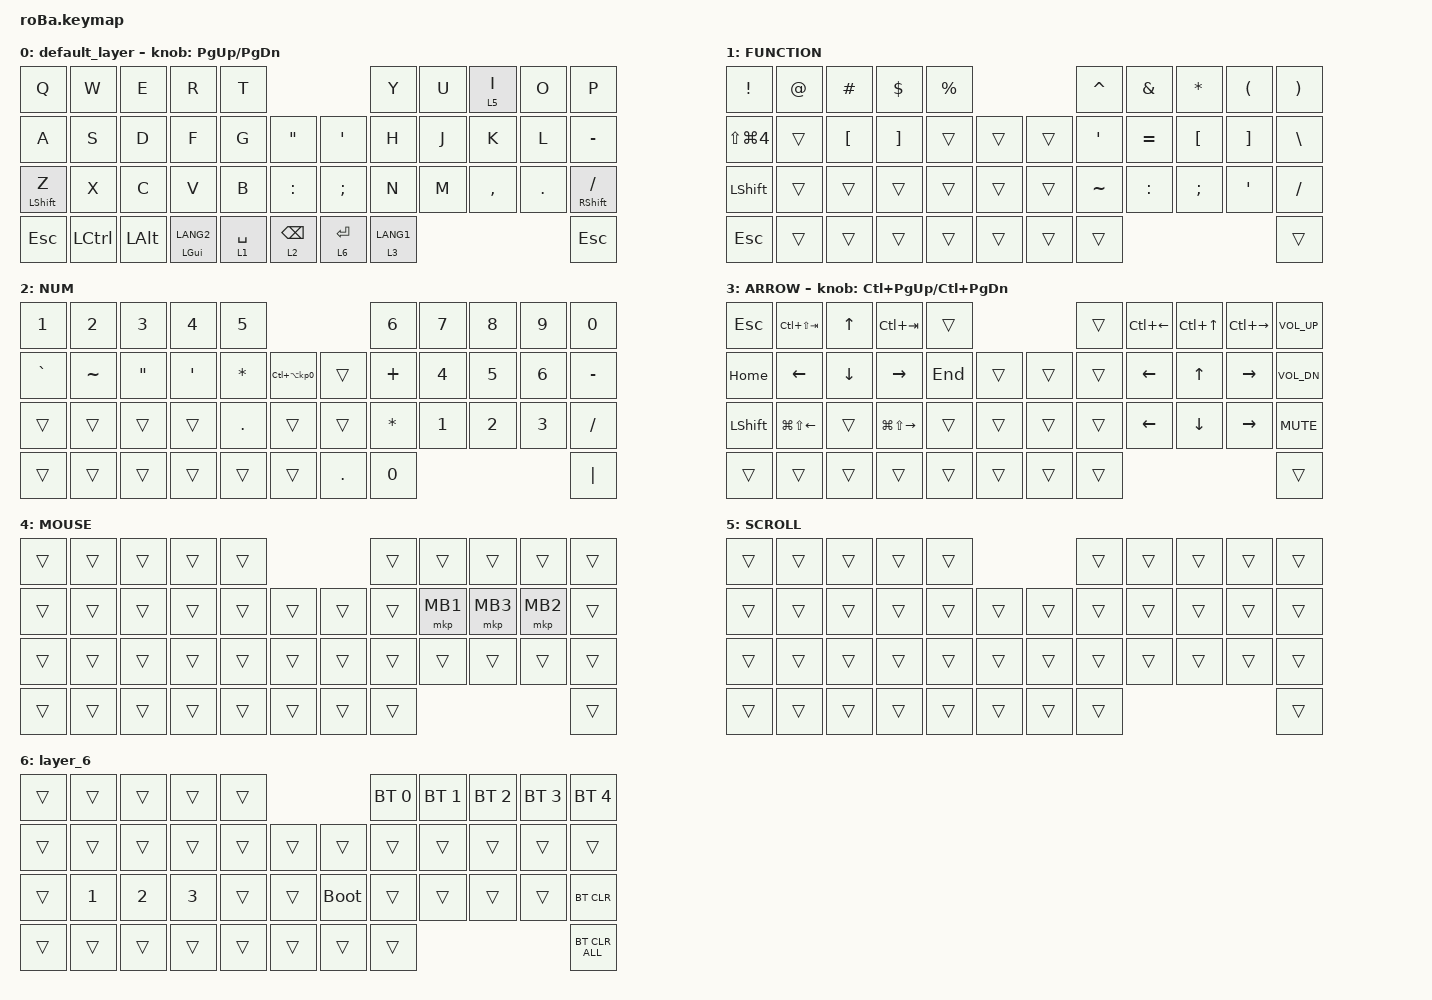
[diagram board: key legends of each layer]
#include <behaviors.dtsi>
#include <dt-bindings/zmk/bt.h>
#include <dt-bindings/zmk/keys.h>
#include <dt-bindings/zmk/pointing.h>

#define MOUSE 4
#define SCROLL 5
#define NUM 6

&mt {
    flavor = "balanced";
    quick-tap-ms = <0>;
};

/ {
    combos {
        compatible = "zmk,combos";

        tab {
            bindings = <&kp TAB>;
            key-positions = <11 12>;
        };

        shift_tab {
            bindings = <&kp LS(TAB)>;
            key-positions = <12 13>;
        };

        muhennkann {
            bindings = <&to_layer_0 INT_MUHENKAN>;
            key-positions = <11 10>;
        };

        double_quotation {
            bindings = <&kp DOUBLE_QUOTES>;
            key-positions = <20 21>;
        };

        eq {
            bindings = <&kp EQUAL>;
            key-positions = <24 25>;
        };
    };

    macros {
        to_layer_0: to_layer_0 {
            compatible = "zmk,behavior-macro-one-param";
            #binding-cells = <1>;
            bindings = <&to 0 &macro_param_1to1 &kp MACRO_PLACEHOLDER>;
            label = "TO_LAYER_0";
        };
    };

    behaviors {
        lt_to_layer_0: lt_to_layer_0 {
            compatible = "zmk,behavior-hold-tap";
            label = "LAYER_TAP_TO_0";
            bindings = <&mo>, <&to_layer_0>;

            #binding-cells = <2>;
            tapping-term-ms = <200>;
        };
    };

    keymap {
        compatible = "zmk,keymap";

        default_layer {
            bindings = <
&kp Q             &kp W             &kp E         &kp R               &kp T                                                                &kp Y                   &kp U  &lt 5 I    &kp O    &kp P
&kp A             &kp S             &kp D         &kp F               &kp G        &kp DOUBLE_QUOTES               &kp SINGLE_QUOTE        &kp H                   &kp J  &kp K      &kp L    &kp MINUS
&mt LEFT_SHIFT Z  &kp X             &kp C         &kp V               &kp B        &kp COLON                       &kp SEMICOLON           &kp N                   &kp M  &kp COMMA  &kp DOT  &mt RIGHT_SHIFT SLASH
&kp ESC           &kp LEFT_CONTROL  &kp LEFT_ALT  &mt LEFT_GUI LANG2  &lt 1 SPACE  &lt_to_layer_0 2 BACKSPACE      &lt_to_layer_0 6 ENTER  &lt_to_layer_0 3 LANG1                             &kp ESC
            >;

            sensor-bindings = <&inc_dec_kp PG_UP PAGE_DOWN>;
        };

        FUNCTION {
            bindings = <
&kp EXCLAMATION       &kp AT  &kp HASH          &kp DOLLAR         &kp PERCENT                      &kp CARET  &kp AMPERSAND  &kp ASTERISK      &kp LEFT_PARENTHESIS  &kp RIGHT_PARENTHESIS
&kp LS(LG(NUMBER_4))  &trans  &kp LEFT_BRACKET  &kp RIGHT_BRACKET  &trans       &trans      &trans  &kp SQT    &kp EQUAL      &kp LEFT_BRACKET  &kp RIGHT_BRACKET     &kp BACKSLASH
&kp LEFT_SHIFT        &trans  &trans            &trans             &trans       &trans      &trans  &kp TILDE  &kp COLON      &kp SEMICOLON     &kp SQT               &kp SLASH
&kp ESCAPE            &trans  &trans            &trans             &trans       &trans      &trans  &trans                                                            &trans
            >;
        };

        NUM {
            bindings = <
&kp NUMBER_1  &kp NUMBER_2  &kp NUMBER_3       &kp NUMBER_4      &kp NUMBER_5                                           &kp NUMBER_6  &kp NUMBER_7  &kp NUMBER_8  &kp NUMBER_9  &kp NUMBER_0
&kp GRAVE     &kp TILDE     &kp DOUBLE_QUOTES  &kp SINGLE_QUOTE  &kp ASTERISK  &kp LC(LA(KP_NUMBER_0))      &trans      &kp PLUS      &kp NUMBER_4  &kp NUMBER_5  &kp NUMBER_6  &kp MINUS
&trans        &trans        &trans             &trans            &kp PERIOD    &trans                       &trans      &kp ASTERISK  &kp NUMBER_1  &kp NUMBER_2  &kp NUMBER_3  &kp SLASH
&trans        &trans        &trans             &trans            &trans        &trans                       &kp PERIOD  &kp NUMBER_0                                            &kp PIPE
            >;
        };

        ARROW {
            bindings = <
&kp ESCAPE      &kp LC(LS(TAB))         &kp UP_ARROW    &kp LC(TAB)              &trans                       &trans  &kp LC(LEFT)    &kp LC(UP_ARROW)  &kp LC(RIGHT_ARROW)  &kp C_VOLUME_UP
&kp HOME        &kp LEFT_ARROW          &kp DOWN_ARROW  &kp RIGHT_ARROW          &kp END  &trans      &trans  &trans  &kp LEFT_ARROW  &kp UP_ARROW      &kp RIGHT_ARROW      &kp C_VOL_DN
&kp LEFT_SHIFT  &kp LG(LS(LEFT_ARROW))  &trans          &kp LG(LS(RIGHT_ARROW))  &trans   &trans      &trans  &trans  &kp LEFT_ARROW  &kp DOWN_ARROW    &kp RIGHT_ARROW      &kp K_MUTE
&trans          &trans                  &trans          &trans                   &trans   &trans      &trans  &trans                                                         &trans
            >;

            sensor-bindings = <&inc_dec_kp LC(PAGE_UP) LC(PAGE_DOWN)>;
        };

        MOUSE {
            bindings = <
&trans  &trans  &trans  &trans  &trans                      &trans  &trans    &trans    &trans    &trans
&trans  &trans  &trans  &trans  &trans  &trans      &trans  &trans  &mkp MB1  &mkp MB3  &mkp MB2  &trans
&trans  &trans  &trans  &trans  &trans  &trans      &trans  &trans  &trans    &trans    &trans    &trans
&trans  &trans  &trans  &trans  &trans  &trans      &trans  &trans                                &trans
            >;
        };

        SCROLL {
            bindings = <
&trans  &trans  &trans  &trans  &trans                      &trans  &trans  &trans  &trans  &trans
&trans  &trans  &trans  &trans  &trans  &trans      &trans  &trans  &trans  &trans  &trans  &trans
&trans  &trans  &trans  &trans  &trans  &trans      &trans  &trans  &trans  &trans  &trans  &trans
&trans  &trans  &trans  &trans  &trans  &trans      &trans  &trans                          &trans
            >;
        };

        layer_6 {
            bindings = <
&trans  &trans        &trans        &trans        &trans                           &bt BT_SEL 0  &bt BT_SEL 1  &bt BT_SEL 2  &bt BT_SEL 3  &bt BT_SEL 4
&trans  &trans        &trans        &trans        &trans  &trans      &trans       &trans        &trans        &trans        &trans        &trans
&trans  &kp NUMBER_1  &kp NUMBER_2  &kp NUMBER_3  &trans  &trans      &bootloader  &trans        &trans        &trans        &trans        &bt BT_CLR
&trans  &trans        &trans        &trans        &trans  &trans      &trans       &trans                                                  &bt BT_CLR_ALL
            >;
        };
    };
};
